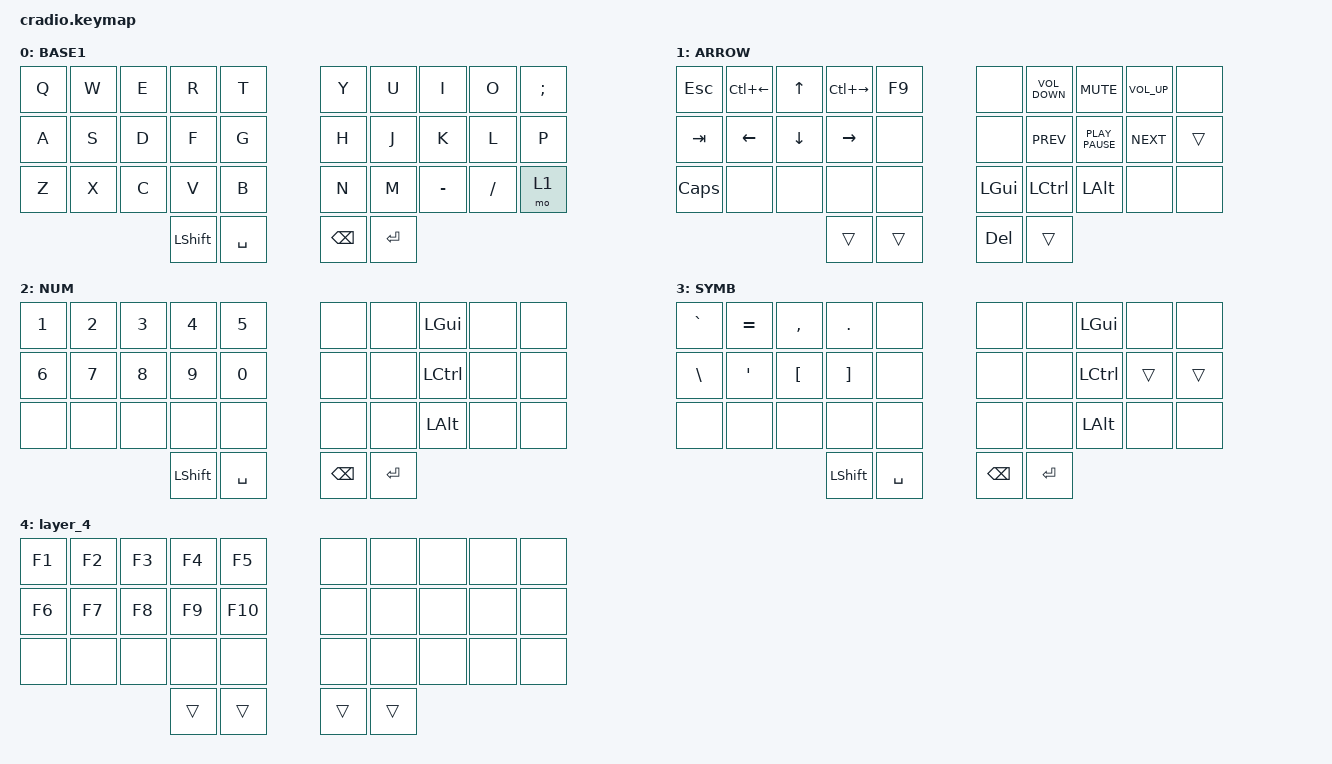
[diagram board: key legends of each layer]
// Copyright (c) 2022 The ZMK Contributors
// SPDX-License-Identifier: MIT

#include <behaviors.dtsi>
#include <dt-bindings/zmk/keys.h>

// Home row mods macro

#define HRML(k1,k2,k3,k4) &ht LSHFT k1  &ht LALT k2  &ht LCTRL k3  &ht LGUI k4
#define HRMR(k1,k2,k3,k4) &ht RGUI k1  &ht RCTRL k2  &ht RALT k3  &ht RSHFT k4

/ {
    behaviors {
        ht: hold_tap {
            compatible = "zmk,behavior-hold-tap";
            #binding-cells = <2>;
            flavor = "tap-preferred";
            tapping-term-ms = <220>;
            quick-tap-ms = <150>;
            require-prior-idle-ms = <100>;
            bindings = <&kp>, <&kp>;
        };
    };

    conditional_layers { compatible = "zmk,conditional-layers"; };

    combos {
        compatible = "zmk,combos";

        NUM {
            bindings = <&mo 2>;
            key-positions = <5 6>;
            layers = <0 2>;
        };

        APPGUI {
            bindings = <&kp LEFT_GUI>;
            key-positions = <25 26>;
            layers = <0 1 2 3>;
        };

        CRT {
            bindings = <&kp LCTRL>;
            key-positions = <26 27>;
            layers = <0 3 2 1 4>;
        };

        ALT {
            bindings = <&kp LEFT_ALT>;
            key-positions = <27 28>;
            layers = <0 1 2 3>;
        };

        LOOP {
            bindings = <&kp LA(RCTRL)>;
            key-positions = <26 27 28>;
        };

        cmd2 {
            bindings = <&kp LEFT_GUI>;
            key-positions = <24 23>;
            layers = <0 1 2 3>;
        };

        crt2 {
            bindings = <&kp LCTRL>;
            key-positions = <23 22>;
            layers = <0 3 2 1>;
        };

        opt2 {
            bindings = <&kp LEFT_ALT>;
            key-positions = <22 21>;
            layers = <0 1 2 3>;
        };

        combo2 {
            bindings = <&kp LA(RCTRL)>;
            key-positions = <21 22 23>;
        };

        symbs {
            bindings = <&mo 3>;
            key-positions = <15 16>;
            layers = <0 3 1 2 4>;
        };

        fn {
            bindings = <&mo 4>;
            key-positions = <16 17>;
            layers = <0 3 1 2 4>;
        };
    };

    keymap {
        compatible = "zmk,keymap";

        BASE1 {
            bindings = <
&kp Q  &kp W  &kp E  &kp R      &kp T        &kp Y          &kp U      &kp I      &kp O     &kp SEMICOLON
&kp A  &kp S  &kp D  &kp F      &kp G        &kp H          &kp J      &kp K      &kp L     &kp P
&kp Z  &kp X  &kp C  &kp V      &kp B        &kp N          &kp M      &kp MINUS  &kp FSLH  &mo 1
                     &kp LSHFT  &kp SPACE    &kp BACKSPACE  &kp ENTER
            >;
        };

        ARROW {
            bindings = <
&kp ESC   &kp LC(LEFT)  &kp UP    &kp LC(RIGHT)  &kp F9    &none       &kp C_VOLUME_DOWN  &kp K_MUTE        &kp C_VOLUME_UP  &none
&kp TAB   &kp LEFT      &kp DOWN  &kp RIGHT      &none     &none       &kp K_PREV         &kp K_PLAY_PAUSE  &kp C_NEXT       &trans
&kp CAPS  &none         &none     &none          &none     &kp LGUI    &kp LCTRL          &kp LALT          &none            &none
                                  &trans         &trans    &kp DELETE  &trans
            >;
        };

        NUM {
            bindings = <
&kp N1  &kp N2  &kp N3  &kp N4     &kp N5       &none     &none    &kp LGUI   &none  &none
&kp N6  &kp N7  &kp N8  &kp N9     &kp N0       &none     &none    &kp LCTRL  &none  &none
&none   &none   &none   &none      &none        &none     &none    &kp LALT   &none  &none
                        &kp LSHFT  &kp SPACE    &kp BSPC  &kp RET
            >;
        };

        SYMB {
            bindings = <
&kp GRAVE  &kp EQUAL  &kp COMMA  &kp DOT    &none        &none     &none    &kp LGUI   &none   &none
&kp BSLH   &kp APOS   &kp LBKT   &kp RBKT   &none        &none     &none    &kp LCTRL  &trans  &trans
&none      &none      &none      &none      &none        &none     &none    &kp LALT   &none   &none
                                 &kp LSHFT  &kp SPACE    &kp BSPC  &kp RET
            >;
        };

        layer_4 {
            bindings = <
&kp F1  &kp F2  &kp F3  &kp F4  &kp F5     &none   &none   &none  &none  &none
&kp F6  &kp F7  &kp F8  &kp F9  &kp F10    &none   &none   &none  &none  &none
&none   &none   &none   &none   &none      &none   &none   &none  &none  &none
                        &trans  &trans     &trans  &trans
            >;
        };
    };
};
